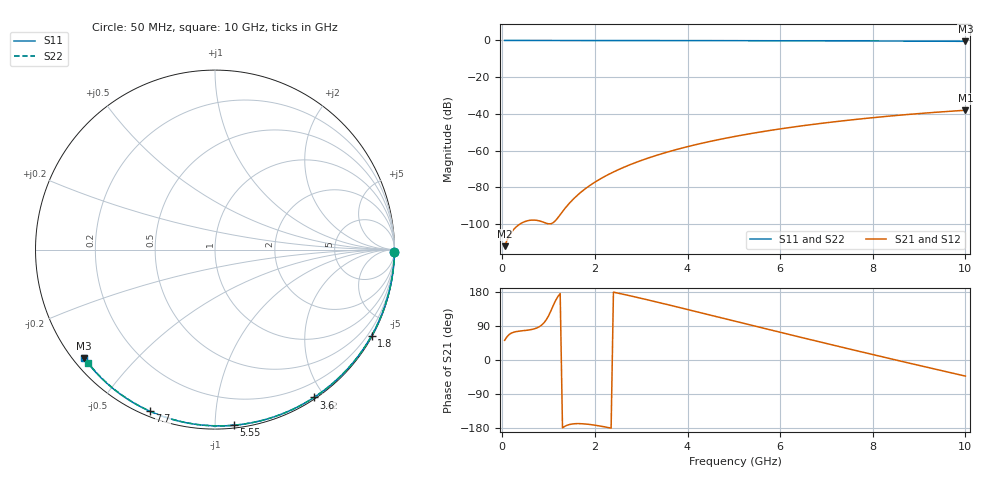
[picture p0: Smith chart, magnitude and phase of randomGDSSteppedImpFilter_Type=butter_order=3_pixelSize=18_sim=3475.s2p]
! freq	dB(S11)	phase(S11)	dB(S12)	phase(S12)
!  dB(S21)	phase(S21)	dB(S22)	phase(S22)
!S-par simulation data
#  GHz  S  DB  R 50
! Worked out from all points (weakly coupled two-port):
!   200 points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, 50 MHz to 10 GHz, reference 50 ohm
!   highest |S21| = -38.02 dB at 10 GHz (marker M1); lowest = -112.0 dB at 50 MHz (marker M2)
!   lowest |S11| = -0.5 dB at 10 GHz (marker M3), VSWR 36.83, Z = 1.53 - j18 ohm
!   |S11| at or under -10 dB: nowhere
!   |S22| runs from -0.5 to 0.0 dB; largest |S21 - S12| = 0
!   S11 on the Smith chart (normalised r, x): 50 MHz: open; 1.8 GHz: 0.03, -3.90; 3.6 GHz: 0.02, -1.87; 5.55 GHz: 0.02, -1.11; 7.7 GHz: 0.02, -0.68; 10 GHz: 0.03, -0.36
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0.05  -0.00 -0.8  -112.02 51.9  -112.02 51.9  -0.00 -0.8
0.45  -0.01 -7.3  -99.02 77.4  -99.02 77.4  -0.01 -7.2
0.9  -0.02 -14.5  -99.08 98.1  -99.08 98.1  -0.02 -14.3
1.75  -0.04 -28.0  -81.57 -168.4  -81.57 -168.4  -0.04 -27.6
1.8  -0.04 -28.8  -80.61 -168.9  -80.61 -168.9  -0.04 -28.3
1.85  -0.04 -29.5  -79.69 -169.5  -79.69 -169.5  -0.04 -29.1
2.05  -0.04 -32.7  -76.38 -173.0  -76.38 -173.0  -0.04 -32.2
2.25  -0.05 -35.8  -73.53 -177.4  -73.53 -177.4  -0.05 -35.2
2.55  -0.05 -40.4  -69.87 175.1  -69.87 175.1  -0.05 -39.8
2.95  -0.06 -46.5  -65.81 164.1  -65.81 164.1  -0.06 -45.8
3.4  -0.07 -53.2  -62.00 151.1  -62.00 151.1  -0.07 -52.4
3.6  -0.08 -56.2  -60.51 145.2  -60.51 145.2  -0.07 -55.3
3.9  -0.08 -60.6  -58.46 136.3  -58.46 136.3  -0.08 -59.7
4.3  -0.09 -66.3  -56.02 124.3  -56.02 124.3  -0.09 -65.4
5.05  -0.12 -76.9  -52.13 101.7  -52.13 101.7  -0.12 -75.8
5.55  -0.14 -83.8  -49.93 86.6  -49.93 86.6  -0.14 -82.5
6.1  -0.16 -91.2  -47.79 70.2  -47.79 70.2  -0.16 -89.8
6.7  -0.19 -99.1  -45.73 52.3  -45.73 52.3  -0.19 -97.6
7.7  -0.26 -111.9  -42.82 23.0  -42.82 23.0  -0.25 -110.2
8.35  -0.31 -120.1  -41.21 4.3  -41.21 4.3  -0.30 -118.2
9.2  -0.39 -130.6  -39.41 -20.0  -39.41 -20.0  -0.38 -128.5
10  -0.47 -140.4  -38.02 -42.5  -38.02 -42.5  -0.47 -138.1
